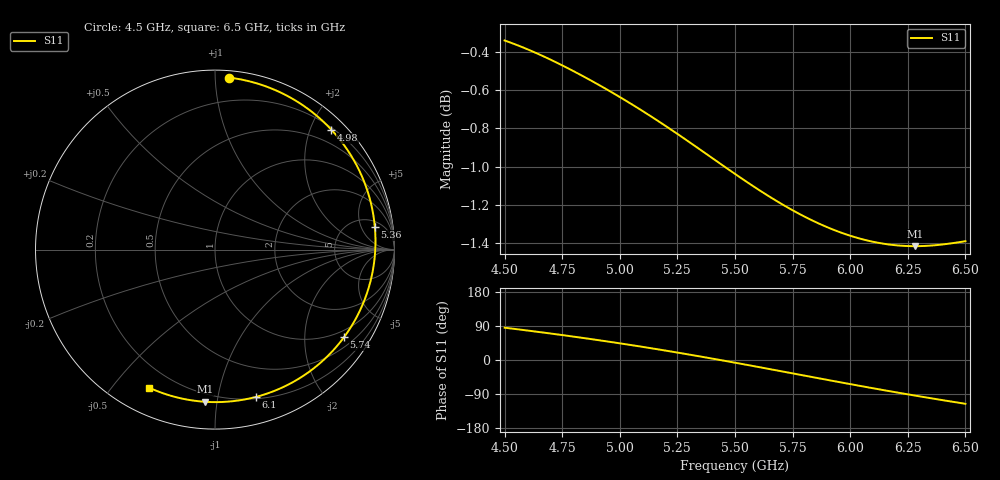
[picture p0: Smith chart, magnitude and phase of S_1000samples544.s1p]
! TOUCHSTONE file generated by CST MICROWAVE STUDIO
! Date and time: Fri Oct 28 13:06:41 2022
! Project name: L.cst
! Parameters = {Di=1.27; Epsilon_r=1.56; InnerDiameter=1.27; Length=2; Lf=10; Lg=60; OuterConductorThickness=0.2921; OuterDiameter=3.6; Wf=3; Wp=41.2; de=1.5; df=6.8; g=0.8; gx=3.42505; gy=1.64698; h=2.34; hf=1.524; px=8.14175; py=8.0222; w=9.7; wx=4.71671; wy=6.37522}
! Header version: 2018
! Port assignment regex: !\s*Touchstone port\s*([0-9]+)\s*=\s*(CST MWS port|CST DS port)\s*([0-9]+|Zmin|Zmax)\s*\(\"(.*)\"\)(\s*mode\s*([0-9]+))?.*
! Touchstone port assignment:
! Touchstone port 1 = CST MWS port 1 ("")
# GHz S DB R 50
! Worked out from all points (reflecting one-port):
!   101 points, 4.5 GHz to 6.5 GHz, reference 50 ohm
!   lowest |S11| = -1.4 dB at 6.28 GHz (marker M1), VSWR 12.31, Z = 7.59 - j46.3 ohm
!   phase of S11 starts at 85 deg and turns -201 deg over the sweep
!   S11 on the Smith chart (normalised r, x): 4.5 GHz: 0.04, +1.09; 4.98 GHz: 0.23, +2.35; 5.36 GHz: 7, +9; 5.74 GHz: 0.77, -3.08; 6.1 GHz: 0.22, -1.29; 6.5 GHz: 0.11, -0.62
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4.5  -0.34 85.2
4.64  -0.41 74.6
4.76  -0.48 65.0
4.88  -0.55 54.8
4.98  -0.62 45.8
5  -0.64 44.0
5.06  -0.68 38.4
5.14  -0.74 30.7
5.2  -0.79 24.7
5.26  -0.84 18.6
5.36  -0.92 8.1
5.44  -0.99 -0.5
5.5  -1.04 -7.1
5.56  -1.09 -13.8
5.62  -1.13 -20.5
5.68  -1.18 -27.3
5.74  -1.22 -34.2
5.76  -1.23 -36.4
5.82  -1.27 -43.3
5.88  -1.31 -50.1
5.94  -1.33 -56.9
6  -1.36 -63.6
6.1  -1.39 -74.6
6.18  -1.41 -83.2
6.26  -1.41 -91.6
6.28  -1.41 -93.7
6.38  -1.41 -103.8
6.5  -1.39 -115.6
